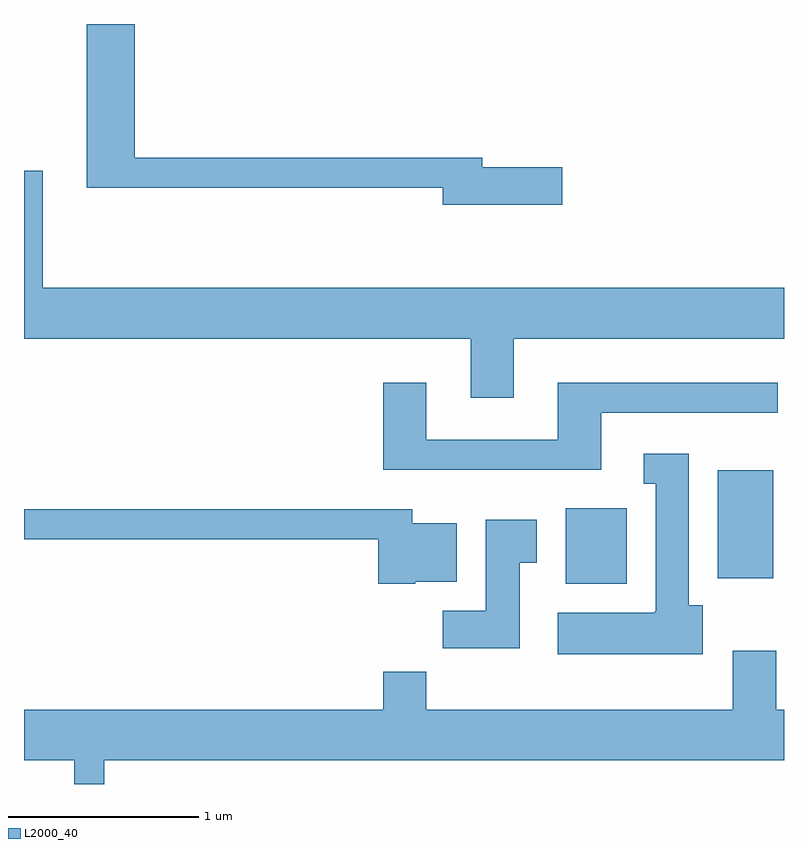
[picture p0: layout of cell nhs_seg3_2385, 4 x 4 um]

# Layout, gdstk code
import gdstk
lib = gdstk.Library(unit=1e-6, precision=1e-09)
def R(c, l, rs):  # rectangles x0, y0, x1, y1
    for r in rs: c.add(gdstk.rectangle(r[:2], r[2:], *l))
def P(c, l, *ps):  # polygons
    for p in ps: c.add(gdstk.Polygon(p, *l))
L2000_40 = (2000, 40)

nhs_seg3_2385 = lib.new_cell('nhs_seg3_2385')
R(nhs_seg3_2385, L2000_40, [(258.461,1126.946,258.784,1127.344), (259.261,1126.976,259.554,1127.544)])
P(nhs_seg3_2385, L2000_40, [(258.444,1129.139),(258.024,1129.139),(258.024,1129.189),(256.194,1129.189),(256.194,1129.892),(255.941,1129.892),(255.941,1129.031),(257.816,1129.031),(257.816,1128.941),(258.444,1128.941)],
  [(258.189,1128.236),(259.611,1128.236),(259.611,1128.504),(255.709,1128.504),(255.709,1129.119),(255.611,1129.119),(255.611,1128.236),(257.961,1128.236),(257.961,1127.926),(258.189,1127.926)],
  [(258.649,1127.846),(259.578,1127.846),(259.578,1128.004),(258.421,1128.004),(258.421,1127.704),(257.729,1127.704),(257.729,1128.004),(257.501,1128.004),(257.501,1127.546),(258.649,1127.546)],
  [(259.184,1126.834),(259.109,1126.834),(259.109,1127.629),(258.873,1127.629),(258.873,1127.471),(258.936,1127.471),(258.936,1126.8),(258.93,1126.8),(258.93,1126.794),(258.421,1126.794),(258.421,1126.576),(259.184,1126.576)],
  [(257.67,1126.956),(257.889,1126.956),(257.889,1127.264),(257.654,1127.264),(257.654,1127.339),(255.611,1127.339),(255.611,1127.181),(257.476,1127.181),(257.476,1126.946),(257.67,1126.946)],
  [(258.219,1127.056),(258.309,1127.056),(258.309,1127.284),(258.041,1127.284),(258.041,1126.804),(257.816,1126.804),(257.816,1126.606),(258.219,1126.606)],
  [(256.034,1126.016),(259.611,1126.016),(259.611,1126.284),(259.569,1126.284),(259.569,1126.594),(259.341,1126.594),(259.341,1126.284),(257.729,1126.284),(257.729,1126.484),(257.501,1126.484),(257.501,1126.284),(255.611,1126.284),(255.611,1126.016),(255.876,1126.016),(255.876,1125.892),(256.034,1125.892)])

lib.write_gds('nhs_seg3_2385.gds')
